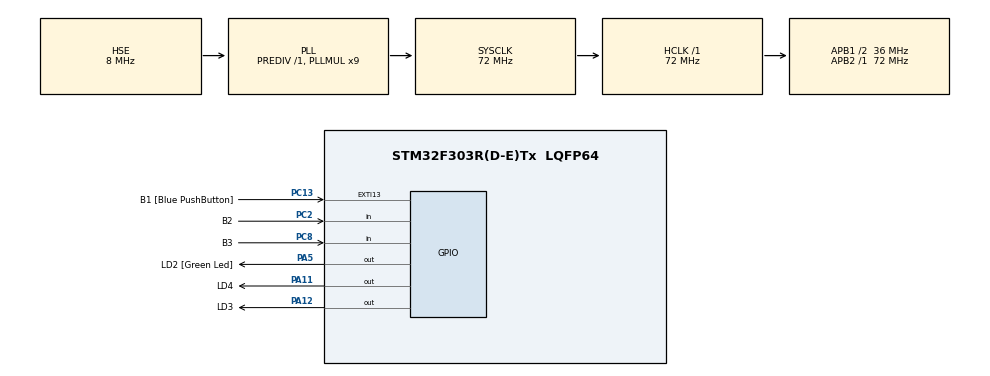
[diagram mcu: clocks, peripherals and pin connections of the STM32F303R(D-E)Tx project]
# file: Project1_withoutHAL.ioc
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Mcu.Family=STM32F3
RCC.PLLSourceVirtual=RCC_PLLSOURCE_HSE
RCC.CortexFreq_Value=72000000
PC13.Signal=GPXTI13
PA14.GPIO_Label=TCK
RCC.SYSCLKSourceVirtual=RCC_SYSCLKSOURCE_PLLCLK
PC8.Signal=GPIO_Input
PC2.Signal=GPIO_Input
PA11.GPIO_Label=LD4
PC13.GPIO_Label=B1 [Blue PushButton]
RCC.APB1CLKDivider=RCC_HCLK_DIV2
PA12.GPIO_Label=LD3
ProjectManager.StackSize=0x400
PC8.GPIO_Label=B3
PA13.Signal=SYS_JTMS-SWDIO
PA12.GPIO_ModeDefaultOutputPP=GPIO_MODE_OUTPUT_OD
PA12.Signal=GPIO_Output
ProjectManager.TargetToolchain=STM32CubeIDE
RCC.HCLKFreq_Value=72000000
RCC.APB2TimFreq_Value=72000000
RCC.USBFreq_Value=72000000
RCC.LSE_VALUE=32768
RCC.AHBFreq_Value=72000000
PF0-OSC_IN.Mode=HSE-External-Oscillator
PA5.Signal=GPIO_Output
PA12.PinState=GPIO_PIN_SET
RCC.HSE_VALUE=8000000
board=NUCLEO-F303RE
RCC.RCC_PLLsource_Clock_Source_FROM_HSE=RCC_HSE_PREDIV_DIV2
RCC.PLLMUL=RCC_PLL_MUL9
PA11.GPIO_ModeDefaultOutputPP=GPIO_MODE_OUTPUT_PP
RCC.APB2Freq_Value=72000000
PA14.Mode=Serial_Wire
PA5.GPIO_PuPd=GPIO_NOPULL
PC2.GPIO_PuPd=GPIO_PULLUP
PA13.Mode=Serial_Wire
Mcu.Name=STM32F303R(D-E)Tx
PA13.GPIO_Label=TMS
PC8.GPIO_PuPd=GPIO_PULLDOWN
RCC.SYSCLKFreq_VALUE=72000000
Mcu.Package=LQFP64
PA5.GPIO_Label=LD2 [Green Led]
PC13.GPIO_ModeDefaultEXTI=GPIO_MODE_IT_FALLING
RCC.EnbaleCSS=true
PA11.Signal=GPIO_Output
PA14.Signal=SYS_JTCK-SWCLK
ProjectManager.HeapSize=0x200
RCC.HSI_VALUE=8000000
RCC.PLLP=RCC_PLLP_DIV4
PA5.GPIO_Speed=GPIO_SPEED_FREQ_LOW
RCC.PLLQ=7
NVIC.PriorityGroup=NVIC_PRIORITYGROUP_0
RCC.PLLM=8
RCC.PLLN=336
RCC.APB1TimFreq_Value=72000000
PF0-OSC_IN.Signal=RCC_OSC_IN
PF1-OSC_OUT.Mode=HSE-External-Oscillator
RCC.APB1Freq_Value=36000000
PA5.GPIO_Mode=GPIO_MODE_OUTPUT_PP
PC2.GPIO_Label=B2
PF1-OSC_OUT.Signal=RCC_OSC_OUT

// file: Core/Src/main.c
/* USER CODE BEGIN Header */
/**
  ******************************************************************************
  * @project-name	: Project 1 (with HAL Library)
  * @file           : main.c
  * @brief          : Main program body
  ******************************************************************************
  * @attention
  *
  * <h2><center>&copy; Copyright (c) 2021 STMicroelectronics.
  * All rights reserved.</center></h2>
  *
  * This software component is licensed by ST under BSD 3-Clause license,
  * the "License"; You may not use this file except in compliance with the
  * License. You may obtain a copy of the License at:
  *                        opensource.org/licenses/BSD-3-Clause
  *
  ******************************************************************************
  */
/* USER CODE END Header */
#include "main.h"

/* USER CODE BEGIN Includes */
#include "stdio.h"
/* USER CODE END Includes */

void SystemClock_Config(void);

/* USER CODE BEGIN PFP */
static void GPIO_Init(void);
/* USER CODE END PFP */

int main(void)
{

  /* MCU Configuration--------------------------------------------------------*/

  /* Reset of all peripherals, Initializes the Flash interface and the Systick. */
  HAL_Init();

  /* Configure the system clock */
  SystemClock_Config();

  /* Initialize all configured peripherals */

  /* USER CODE BEGIN 2 */

  //Initialize GPIO Ports
  GPIO_Init();

  /* USER CODE END 2 */

  /* Infinite loop */
  /* USER CODE BEGIN WHILE */
  while (1)
  {
	  //Check if the pull-up button is pressed.
	  if(!(GPIOC->IDR & (1 << 2)))
	  {
		  //50ms bounce time
		  HAL_Delay(50);

		  //Wait while the pull-up button is pressed.
		  while(!(GPIOC->IDR & (1 << 2)));

		  //50ms bounce time
		  HAL_Delay(50);

		  //Change the state of open-drain led
		  GPIOA->ODR ^= 1 << 12;
	  }

	  //Or check if the pull-down button is pressed.
	  else if((GPIOC->IDR & (1 << 8)))
	  {
		  //50ms bounce time
		  HAL_Delay(50);

		  //Wait while the pull-down button is pressed.
		  while((GPIOC->IDR & (1 << 8)));

		  //50ms bounce time
		  HAL_Delay(50);

		  //Change the state of push-pull led
		  GPIOA->ODR ^= 1 << 11;
	  }

	  else
	  {
		  continue;
	  }

    /* USER CODE END WHILE */

  }
}

void SystemClock_Config(void)
{
  RCC_OscInitTypeDef RCC_OscInitStruct = {0};
  RCC_ClkInitTypeDef RCC_ClkInitStruct = {0};

  /** Initializes the RCC Oscillators according to the specified parameters
  * in the RCC_OscInitTypeDef structure.
  */
  RCC_OscInitStruct.OscillatorType = RCC_OSCILLATORTYPE_HSE;
  RCC_OscInitStruct.HSEState = RCC_HSE_ON;
  RCC_OscInitStruct.HSIState = RCC_HSI_ON;
  RCC_OscInitStruct.PLL.PLLState = RCC_PLL_ON;
  RCC_OscInitStruct.PLL.PLLSource = RCC_PLLSOURCE_HSE;
  RCC_OscInitStruct.PLL.PLLMUL = RCC_PLL_MUL9;
  RCC_OscInitStruct.PLL.PREDIV = RCC_PREDIV_DIV1;
  if (HAL_RCC_OscConfig(&RCC_OscInitStruct) != HAL_OK)
  {
    Error_Handler();
  }
  /** Initializes the CPU, AHB and APB buses clocks
  */
  RCC_ClkInitStruct.ClockType = RCC_CLOCKTYPE_HCLK|RCC_CLOCKTYPE_SYSCLK
                              |RCC_CLOCKTYPE_PCLK1|RCC_CLOCKTYPE_PCLK2;
  RCC_ClkInitStruct.SYSCLKSource = RCC_SYSCLKSOURCE_PLLCLK;
  RCC_ClkInitStruct.AHBCLKDivider = RCC_SYSCLK_DIV1;
  RCC_ClkInitStruct.APB1CLKDivider = RCC_HCLK_DIV2;
  RCC_ClkInitStruct.APB2CLKDivider = RCC_HCLK_DIV1;

  if (HAL_RCC_ClockConfig(&RCC_ClkInitStruct, FLASH_LATENCY_2) != HAL_OK)
  {
    Error_Handler();
  }
  /** Enables the Clock Security System
  */
  HAL_RCC_EnableCSS();
}

static void GPIO_Init(void)
{
  /* GPIO Ports Clock Enable */
  RCC->AHBENR |= (1 << 17); //GPIOA
  RCC->AHBENR |= (1 << 19); //GPIOC

  /*Configure GPIOA 11 pin : push-pull led */

  //Set GPIO pin output
  GPIOA->MODER |= (1 << 22);
  GPIOA->MODER &= ~(1 << 23);

  //Enable push-pull output mode
  GPIOA->OTYPER &= ~(1 << 11);

  //Set low output speed
  GPIOA->OSPEEDR &= ~(1 << 22);

  //Set no pull-up, no pull-down
  GPIOA->PUPDR &= ~(1 << 22);
  GPIOA->PUPDR &= ~(1 << 23);

  /*Configure GPIOA 12 pin: open-drain led */

  //Set GPIO pin output
  GPIOA->MODER |= (1 << 24);
  GPIOA->MODER &= ~(1 << 25);

  //Enable open-drain output mode
  GPIOA->OTYPER |= (1 << 12);

  //Set low output speed
  GPIOA->OSPEEDR &= ~(1 << 24);

  //Set no pull-up, no pull-down
  GPIOA->PUPDR &= ~(1 << 24);
  GPIOA->PUPDR &= ~(1 << 25);

  /*Configure GPIOC 2 pin : pull-up led */

  //Set GPIO pin input
  GPIOC->MODER &= ~(1 << 4);
  GPIOC->MODER &= ~(1 << 5);

  //Enable pull-up output mode
  GPIOC->PUPDR |= (1 << 4);
  GPIOC->PUPDR &= ~(1 << 5);

  /*Configure GPIOC 8 pin : pull-down button */

  //Set GPIO pin input
  GPIOC->MODER &= ~(1 << 16);
  GPIOC->MODER &= ~(1 << 17);

  //Enable pull-down input mode
  GPIOC->PUPDR &= ~(1 << 16);
  GPIOC->PUPDR |= (1 << 17);

}

void Error_Handler(void)
{
  __disable_irq();
  while (1)
  {
  }
}

/************************ (C) COPYRIGHT STMicroelectronics *****END OF FILE****/
